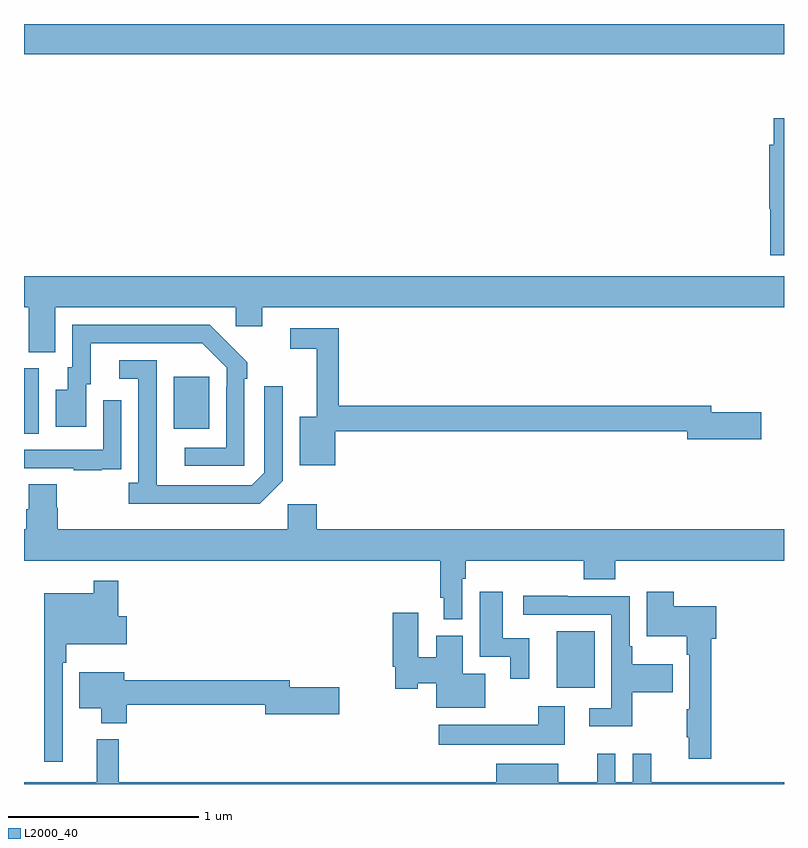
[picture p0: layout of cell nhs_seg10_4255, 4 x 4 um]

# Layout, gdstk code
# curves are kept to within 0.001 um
import gdstk
lib = gdstk.Library(unit=1e-6, precision=1e-09)
def R(c, l, rs):  # rectangles x0, y0, x1, y1
    for r in rs: c.add(gdstk.rectangle(r[:2], r[2:], *l))
def P(c, l, *ps):  # polygons
    for p in ps: c.add(gdstk.Polygon(p, *l))
L2000_40 = (2000, 40)

nhs_seg10_4255 = lib.new_cell('nhs_seg10_4255')
R(nhs_seg10_4255, L2000_40, [(351.803,1273.007,352.003,1273.303), (349,1274.344,349.078,1274.688), (349.787,1274.369,349.975,1274.644), (349,1276.34,353,1276.5)])
P(nhs_seg10_4255, L2000_40, [(353,1276.003),(352.946,1276.003),(352.946,1275.864),(352.922,1275.864),(352.922,1275.528),(352.927,1275.528),(352.927,1275.282),(353,1275.282)],
  [(349.165,1275.008),(350.115,1275.008),(350.115,1274.91),(350.254,1274.91),(350.254,1275.008),(353,1275.008),(353,1275.172),(349,1275.172),(349,1275.008),(349.025,1275.008),(349.025,1274.773),(349.165,1274.773)],
  [(350.16,1274.633),(350.175,1274.633),(350.175,1274.721),(349.978,1274.916),(349.254,1274.916),(349.254,1274.694),(349.229,1274.694),(349.229,1274.575),(349.166,1274.575),(349.166,1274.379),(349.327,1274.379),(349.327,1274.604),(349.351,1274.604),(349.351,1274.82),(349.939,1274.82),(350.067,1274.691),(350.067,1274.591),(350.064,1274.591),(350.064,1274.271),(349.845,1274.271),(349.845,1274.175),(350.16,1274.175)],
  [(350.637,1274.356),(352.49,1274.356),(352.49,1274.314),(352.879,1274.314),(352.879,1274.456),(352.618,1274.456),(352.618,1274.492),(350.657,1274.492),(350.657,1274.898),(350.4,1274.898),(350.4,1274.79),(350.54,1274.79),(350.54,1274.434),(350.45,1274.434),(350.45,1274.177),(350.637,1274.177)],
  [(350.361,1274.097),(350.361,1274.593),(350.265,1274.593),(350.265,1274.139),(350.199,1274.073),(349.699,1274.073),(349.698,1274.73),(349.5,1274.73),(349.5,1274.634),(349.602,1274.634),(349.602,1274.086),(349.551,1274.086),(349.551,1273.976),(350.24,1273.976)],
  [(349.409,1274.157),(349.511,1274.157),(349.511,1274.266),(349.512,1274.266),(349.512,1274.521),(349.416,1274.521),(349.416,1274.259),(349,1274.259),(349,1274.163),(349.261,1274.163),(349.261,1274.151),(349.409,1274.151)],
  [(351.306,1273.58),(351.326,1273.58),(351.326,1273.676),(351.947,1273.676),(351.947,1273.577),(352.112,1273.577),(352.112,1273.676),(353,1273.676),(353,1273.84),(350.54,1273.84),(350.54,1273.972),(350.388,1273.972),(350.388,1273.84),(349.178,1273.84),(349.178,1273.953),(349.173,1273.953),(349.173,1274.078),(349.025,1274.078),(349.025,1273.946),(349.013,1273.946),(349.013,1273.84),(349,1273.84),(349,1273.676),(351.19,1273.676),(351.19,1273.48),(351.209,1273.48),(351.209,1273.368),(351.306,1273.368)],
  [(349.203,1273.139),(349.223,1273.139),(349.223,1273.235),(349.54,1273.235),(349.54,1273.383),(349.496,1273.383),(349.496,1273.57),(349.368,1273.57),(349.368,1273.504),(349.106,1273.504),(349.106,1272.618),(349.203,1272.618)],
  [(352.616,1273.265),(352.643,1273.265),(352.643,1273.435),(352.421,1273.435),(352.421,1273.513),(352.277,1273.513),(352.277,1273.277),(352.488,1273.277),(352.488,1273.181),(352.5,1273.181),(352.5,1272.893),(352.488,1272.893),(352.488,1272.745),(352.499,1272.745),(352.499,1272.633),(352.616,1272.633)],
  [(351.658,1273.266),(351.52,1273.266),(351.52,1273.513),(351.398,1273.513),(351.398,1273.17),(351.56,1273.17),(351.56,1273.053),(351.658,1273.053)],
  [(352.201,1272.982),(352.415,1272.982),(352.415,1273.129),(352.201,1273.129),(352.201,1273.225),(352.188,1273.225),(352.188,1273.488),(351.863,1273.488),(351.863,1273.49),(351.627,1273.49),(351.627,1273.392),(352.092,1273.392),(352.092,1272.9),(351.975,1272.9),(351.975,1272.803),(352.201,1272.803)],
  [(351.427,1273.081),(351.31,1273.081),(351.31,1273.279),(351.17,1273.279),(351.17,1273.166),(351.076,1273.166),(351.076,1273.402),(350.942,1273.402),(350.942,1273.117),(350.954,1273.117),(350.954,1273.001),(351.072,1273.001),(351.072,1273.031),(351.17,1273.031),(351.17,1272.902),(351.427,1272.902)],
  [(349.541,1272.918),(350.27,1272.918),(350.27,1272.868),(350.659,1272.868),(350.659,1273.01),(350.398,1273.01),(350.398,1273.046),(349.528,1273.046),(349.528,1273.087),(349.292,1273.087),(349.292,1272.899),(349.406,1272.899),(349.406,1272.821),(349.541,1272.821)],
  [(351.847,1272.91),(351.707,1272.91),(351.707,1272.811),(351.183,1272.811),(351.183,1272.707),(351.847,1272.707)],
  [(353,1272.508),(352.301,1272.508),(352.301,1272.658),(352.203,1272.658),(352.203,1272.508),(352.113,1272.508),(352.113,1272.658),(352.016,1272.658),(352.016,1272.508),(351.811,1272.508),(351.811,1272.607),(351.485,1272.607),(351.485,1272.508),(349.499,1272.508),(349.499,1272.736),(349.382,1272.736),(349.382,1272.508),(349,1272.508),(349,1272.5),(353,1272.5)])

lib.write_gds('nhs_seg10_4255.gds')
